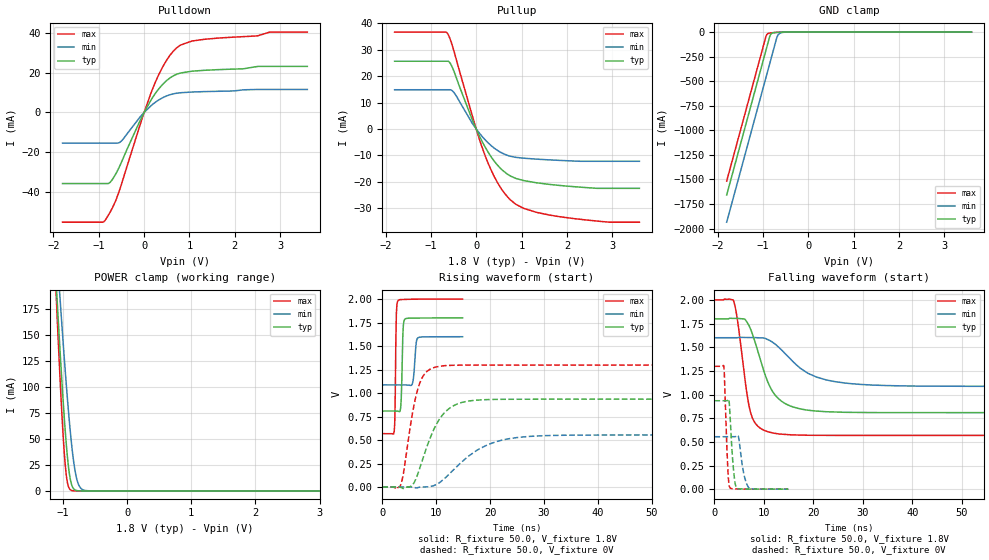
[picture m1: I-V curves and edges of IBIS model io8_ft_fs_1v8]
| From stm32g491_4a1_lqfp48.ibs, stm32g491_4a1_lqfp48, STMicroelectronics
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[Model]   io8_ft_fs_1v8
Model_type I/O
Polarity   Non-Inverting
Enable   Active-Low
| CAP_THRESHOLD on pad IOFT is "UDTCAPC" :
| Rising=30.0% of vddiom   Falling=70.0% of vddiom
| C_comp min and max val. don't necessarily correlate with the min and max pvt
| but are the smallest and greatest pad capacitance found.
| var   typ   min   max
C_comp   2.04484pF  2.03950pF  2.10330pF
|C_comp_pullup   1.14452pF  1.14098pF  1.14605pF
|C_comp_pulldown   900.31992fF  898.52017fF  957.25003fF
Vinl = 480.0mV
Vinh = 1.4V
Vmeas = 900.0mV   | Reference voltage for timing measurements
Cref  = 50.0pF   | Timing specification test load capacitance value
Rref  = 100.0MOhm   | Timing specification test load resistance value
Vref  = 900.0mV   | Timing specification test load voltage
[Model Spec]
| TIME_THRESHOLD on pin ZIV12 is "CMOS" :
| Rising=50.0% of vdd   Falling=50.0% of vdd
Vinl 728.70000mV 655.70000mV 817.70000mV
Vinh 1.06430V 949.30000mV 1.16330V
| variable   typ   min   max
[Temperature Range] 25.0 140.0 -40.0
| variable   typ   min   max
[Voltage Range] 1.8V 1.6V 2.0V
| variable   typ   min   max
[POWER Clamp Reference] 1.8V 1.6V 2.0V
| variable   typ   min   max
[GND Clamp Reference] 0V 0V 0V
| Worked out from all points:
|   slope of the pulldown table from 0 to 0.27 V, typ, clamps not added: 26.3 ohm
|   slope of the pullup table from 0 to 0.27 V, typ, clamps not added: 30 ohm
|   GND clamp passes 1 mA (typ) near -0.61 V on its own axis
|   POWER clamp passes 1 mA (typ) near -0.81 V on its own axis
|   rising waveform, R_fixture 50.0, V_fixture 1.8V: 20-80 % time 252ps typ, 394ps min, 202ps max; typ from 0.809 V to 1.8 V
|   falling waveform, R_fixture 50.0, V_fixture 1.8V: 20-80 % time 4.16ns typ, 7.38ns min, 2.24ns max; typ from 1.8 V to 0.809 V
|   rising waveform, R_fixture 50.0, V_fixture 0V: 20-80 % time 4.05ns typ, 7.36ns min, 2.34ns max; typ from 0 V to 0.935 V
|   falling waveform, R_fixture 50.0, V_fixture 0V: 20-80 % time 697ps typ, 1.02ns min, 535ps max; typ from 0.935 V to 0 V
[POWER Clamp]
-1.8V     1.053A     943.1mA    1.262A
-1.11V    202.2mA    242.3mA    190.9mA
-1.09V    180mA      223.6mA    163.4mA
-1.05V    136.9mA    187mA      110.9mA
-980mV    68.91mA    126.1mA    35.23mA
-940mV    37.57mA    94.11mA    10.65mA
-880mV    8.969mA    52.17mA    807.4uA
-830mV    1.697mA    25.82mA    75.79uA
-790mV    394.2uA    12.22mA    11.25uA
-740mV    61.25uA    3.879mA    1.034uA
-660mV    3.073uA    483.4uA    22.7nA
3.6V      0A         0A         0A
[GND Clamp]
-1.8V     -1.658A    -1.935A    -1.517A
-930mV    -179mA     -456mA     -38.91mA
-900mV    -128mA     -405mA     -17.65mA
-850mV    -44.09mA   -320mA     -9.519mA
-830mV    -24.74mA   -286mA     -8.302mA
-790mV    -9.695mA   -218mA     -6.49mA
-700mV    -2.938mA   -65mA      -3.294mA
-670mV    -2.157mA   -31.85mA   -2.435mA
-640mV    -1.545mA   -16.21mA   -1.699mA
-570mV    -571.9uA   -3.807mA   -536.5uA
-420mV    -14.26uA   -143.3uA   -5.434uA
3.6V      450.9pA    102.5nA    318pA
| variable   typ   min   max
[Pullup Reference] 1.8V 1.6V 2.0V
| variable   typ   min   max
[Pulldown Reference] 0V 0V 0V
[Pullup]
-1.8V     25.66mA    14.85mA    36.7mA
-630mV    25.66mA    14.85mA    36.09mA
-570mV    24.8mA     14.85mA    33.82mA
-480mV    21.34mA    13.54mA    28.84mA
-90mV     3.62mA     2.224mA    5.223mA
230mV     -7.853mA   -4.702mA   -11.57mA
540mV     -15mA      -8.867mA   -22.31mA
870mV     -18.72mA   -10.75mA   -28.48mA
1.33V     -20.4mA    -11.44mA   -31.6mA
1.9V      -21.5mA    -11.96mA   -33.39mA
2.94V     -22.49mA   -12.26mA   -35.33mA
3.6V      -22.49mA   -12.26mA   -35.33mA
[Pulldown]
-1.8V     -35.76mA   -15.41mA   -55.17mA
-910mV    -35.76mA   -15.41mA   -55.17mA
-830mV    -35.76mA   -15.41mA   -53.18mA
-710mV    -34mA      -15.41mA   -48.42mA
-520mV    -26.05mA   -14.75mA   -37.5mA
-90mV     -4.145mA   -2.306mA   -6.327mA
230mV     8.974mA    4.797mA    14.24mA
490mV     15.87mA    8.223mA    26.01mA
750mV     19.43mA    9.743mA    33.01mA
1.33V     21.16mA    10.45mA    36.75mA
2.78V     23.13mA    11.52mA    40.36mA
3.6V      23.13mA    11.52mA    40.37mA
[Ramp]
dV/dt_r 560.73224mV/4.0466ns 332.41097mV/7.35894ns 778.78366mV/2.34456ns
dV/dt_f 594.84215mV/4.15576ns 308.28551mV/7.3798ns 859.12507mV/2.24125ns
R_load = 50.0
| Removed startup time: 0s 0s 0s  .
| Removed end time: 14.9ns.
[Rising Waveform]
R_fixture   = 50.0
V_fixture   = 1.8V
V_fixture_min = 1.6V
V_fixture_max = 2.0V
0s        808.6mV    1.086V     568.1mV
2.2ns     808.7mV    1.086V     590.5mV
2.6ns     808.5mV    1.086V     1.843V
2.9ns     806.4mV    1.086V     1.983V
3.4ns     844.7mV    1.086V     1.994V
3.8ns     1.615V     1.086V     1.995V
4.1ns     1.779V     1.086V     1.996V
5.6ns     1.797V     1.105V     1.998V
6.6ns     1.798V     1.587V     1.999V
14.9ns    1.8V       1.599V     2V
| Removed startup time: 0s 0s 0s  .
| Removed end time: 99.9ns.
[Falling Waveform]
R_fixture   = 50.0
V_fixture   = 1.8V
V_fixture_min = 1.6V
V_fixture_max = 2.0V
0s        1.8V       1.6V       2V
3.9ns     1.804V     1.6V       1.985V
4.7ns     1.805V     1.6V       1.77V
6.1ns     1.797V     1.603V     1.186V
7.3ns     1.691V     1.603V     809.7mV
10.8ns    1.13V      1.58V      606.1mV
15.5ns    875.6mV    1.366V     573.8mV
20.6ns    825.2mV    1.185V     568.8mV
27.4ns    811.5mV    1.116V     568.1mV
99.9ns    808.6mV    1.086V     568.1mV
| Removed startup time: 0s 0s 0s  .
| Removed end time: 99.9ns.
[Rising Waveform]
R_fixture   = 50.0
V_fixture   = 0V
V_fixture_min = 0V
V_fixture_max = 0V
0s        -16.13uV   -14.82uV   -10.77uV
3.3ns     -2.301mV   55.51nV    9.608mV
3.9ns     -16.13mV   1.249uV    142.3mV
5.5ns     16.28mV    -1.813mV   755.5mV
6.7ns     158.2mV    -4.761mV   1.064V
10.1ns    674.3mV    29.18mV    1.279V
14.7ns    899.3mV    264.6mV    1.297V
19.5ns    930.4mV    449.3mV    1.298V
25.7ns    934.3mV    530.8mV    1.298V
99.9ns    934.6mV    554mV      1.298V
| Removed startup time: 0s 0s 0s  .
| Removed end time: 14.9ns.
[Falling Waveform]
R_fixture   = 50.0
V_fixture   = 0V
V_fixture_min = 0V
V_fixture_max = 0V
0s        934.6mV    554mV      1.298V
1.9ns     934.6mV    554mV      1.301V
2.7ns     941.3mV    554mV      214.2mV
3.1ns     830.2mV    554mV      18.98mV
3.8ns     232.2mV    553.6mV    3.691mV
4.5ns     10.18mV    562.3mV    2.755mV
4.9ns     3.746mV    542.5mV    1.941mV
6ns       1.827mV    145.7mV    801.4uV
6.9ns     1.538mV    15.55mV    524.7uV
14.9ns    124.7uV    373.7uV    20.31uV
